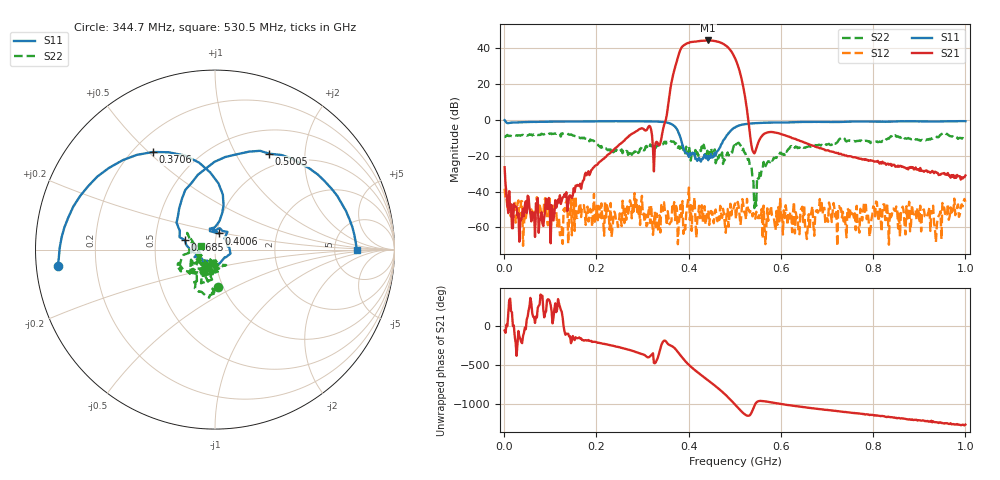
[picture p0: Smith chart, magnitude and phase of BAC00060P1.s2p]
!measured: 2026-10-27T15:05:40
!cal_instance: BBtestOct27
!cal_created: 2026-10-27T14:45
!cal_file: BBtesting.cal
!port1_delay_ps: -58.63
!port2_delay_ps: -59.31
!host: dhcp-10-250-247-203.harvard.edu
! Created with skrf 2.1.0 (http://scikit-rf.org).
# Hz S RI R 50.0
!freq ReS11 ImS11 ReS21 ImS21 ReS12 ImS12 ReS22 ImS22
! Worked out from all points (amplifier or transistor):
!   501 points, 1 MHz to 1 GHz, reference 50 ohm
!   highest |S21| = 44.4 dB at 442.6 MHz (marker M1)
!   |S21| within 3 dB of that: 388 MHz to 481.5 MHz (93.42 MHz wide, 21.5 % of centre)
!   unconditionally stable (mu >= 1): start of sweep to 398.6 MHz; 401.1 MHz to 412.2 MHz; 412.9 MHz to end of sweep
!   at 166.8 MHz: K = 3392.90, MAG = -30.4 dB, |S12| = -54.2 dB
!   at 500.5 MHz: K = 1.27, MAG = 37.4 dB, |S12| = -46.6 dB
!   at 1 GHz: K = 445.51, MAG = -22.2 dB, |S12| = -45.6 dB
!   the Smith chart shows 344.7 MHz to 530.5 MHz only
!   S11 on the Smith chart (normalised r, x): 344.7 MHz: 0.06, -0.05; 370.6 MHz: 0.28, +0.52; 400.6 MHz: 1.03, +0.19; 468.5 MHz: 0.71, +0.08; 500.5 MHz: 0.81, +1.38; 530.5 MHz: 8.54, +0.01
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1000000  -0.3766 0.9085  0.0277 -0.039  0.00481 0.011  0.3345 -0.044
1.68832e8  0.4864 -0.7679  -0.0164 -0.000865  -0.00352 0.00116  -0.0408 -0.3168
3.34666e8  -0.8452 -0.3176  0.1917 -0.0565  0.000519 0.00058  0.0476 -0.1868
3.44656e8  -0.8747 -0.0887  -0.5371 0.1519  -0.00261 0.00131  0.0183 -0.2098
3.7063e8  -0.3466 0.5437  9.175 28.32  0.00154 0.000459  -0.1079 -0.1827
3.84616e8  0.0477 0.247  89 -55.82  -0.000571 -0.00187  -0.1268 -0.0634
3.92608e8  -0.00336 0.1224  2.113 -129.1  0.000236 0.000838  -0.0958 -0.0668
4.006e8  0.0214 0.0901  -101.9 -96.97  -0.0117 -0.00565  -0.1556 0.0931
4.1059e8  0.0424 0.1035  -149.8 29.52  0.00288 -0.00112  -0.0723 -0.0865
4.24576e8  0.0613 -0.0421  -33.47 157.6  -0.000126 -0.00181  -0.0232 -0.1407
4.32568e8  -0.00167 -0.0923  67.14 148.5  0.000331 -0.00363  -0.0779 -0.1874
4.42558e8  -0.0441 -0.0609  155.6 57.92  -0.00299 0.000232  -0.0424 -0.0757
4.52548e8  -0.0829 -0.0386  147 -70.49  -0.000999 -0.0014  -0.0235 -0.098
4.6054e8  -0.1264 -0.0125  70.04 -139.9  0.00169 -0.000995  -0.0363 -0.0641
4.68532e8  -0.1673 0.0526  -33.75 -142  0.00181 -0.00358  0.0624 -0.0864
4.82518e8  -0.1657 0.3323  -114.4 -1.191  -0.000654 0.00308  0.023 -0.105
4.9051e8  -0.00238 0.4892  -60.95 64.98  -0.00446 0.00104  -0.0247 -0.1107
5.005e8  0.301 0.5346  18.12 50.1  0.000136 -0.00469  -0.1142 -0.1292
5.3047e8  0.7904 0.000313  0.1969 -0.7267  0.00233 0.00201  -0.0767 0.0222
6.68332e8  0.0247 -0.8832  0.1797 0.0686  -0.00324 0.00221  0.0222 -0.1909
8.34166e8  -0.6128 -0.6551  -0.00102 -0.0562  0.000328 -4.43e-05  -0.1879 -0.2367
1e9  -0.8935 -0.238  -0.0278 0.00478  0.00151 0.00501  -0.2564 -0.1735
